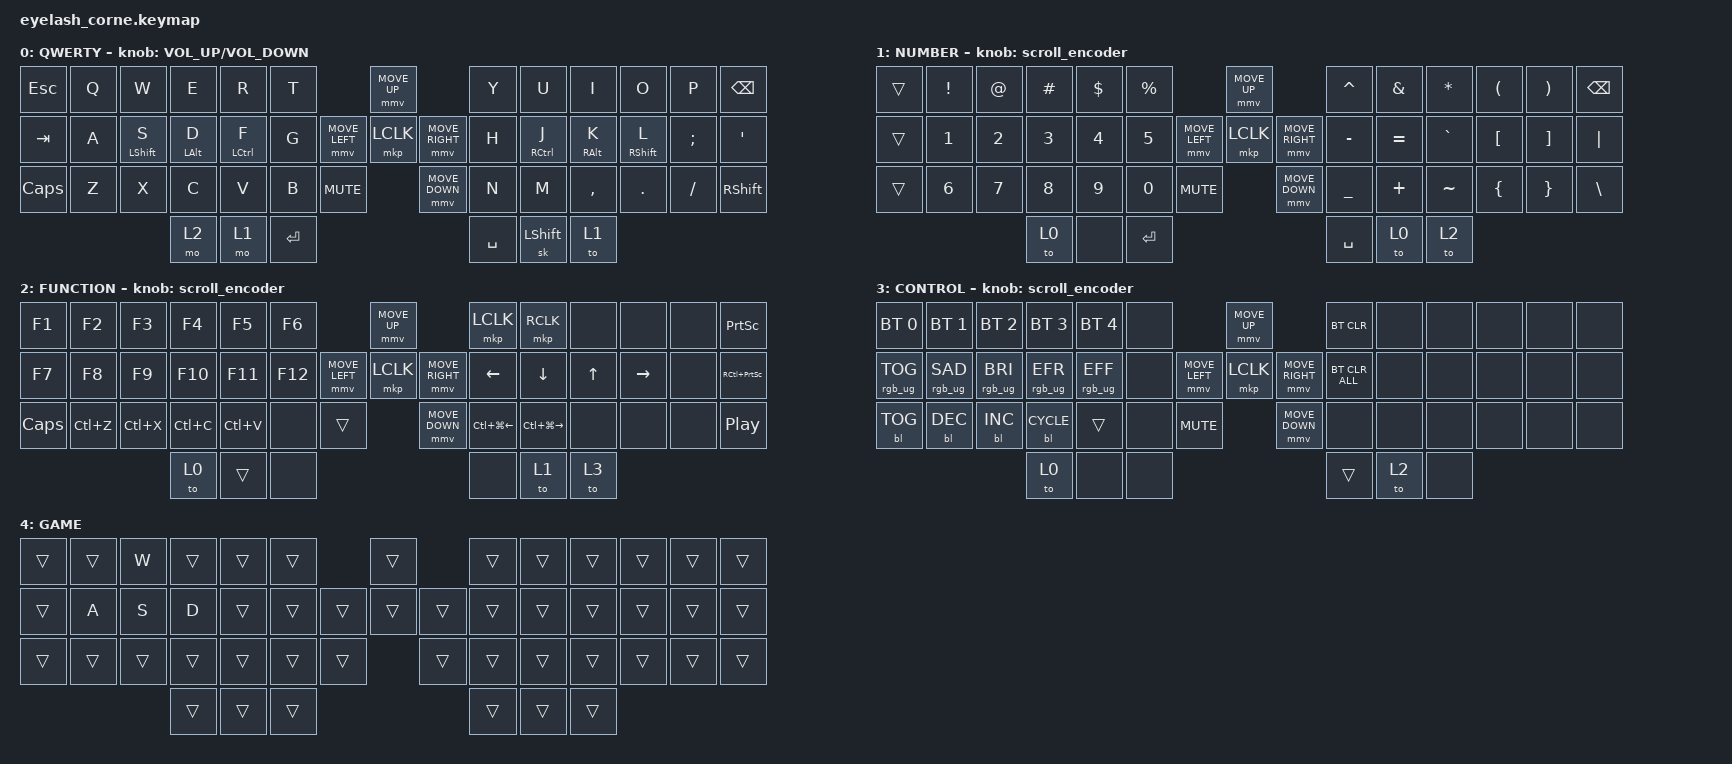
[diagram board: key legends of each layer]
#include <dt-bindings/zmk/mouse.h>
#include <input/processors.dtsi>
#include <behaviors.dtsi>
#include <dt-bindings/zmk/backlight.h>
#include <dt-bindings/zmk/bt.h>
#include <dt-bindings/zmk/keys.h>
#include <dt-bindings/zmk/pointing.h>
#include <dt-bindings/zmk/rgb.h>

/*

   &mmv_input_listener {
       input-processors = <&zip_xy_scaler 2 1>;
   };

   &msc_input_listener {
       input-processors = <&zip_xy_scaler 2 1>;
   };

 */

#define ZMK_MOUSE_DEFAULT_MOVE_VAL 1200  // 600
#define ZMK_MOUSE_DEFAULT_SCRL_VAL 20    // 10

/ {
    behaviors {
        shift_caps: shift_caps {
            compatible = "zmk,behavior-tap-dance";
            display-name = "Shift/Caps Lock Tap Dance";
            #binding-cells = <0>;
            bindings = <&kp LEFT_SHIFT>, <&kp CAPS>;
        };

        HRL: HRL {
            compatible = "zmk,behavior-hold-tap";
            label = "HRL";
            bindings = <&kp>, <&kp>;

            #binding-cells = <2>;
            tapping-term-ms = <280>;
            quick-tap-ms = <175>;
            require-prior-idle-ms = <150>;
            flavor = "balanced";
            hold-trigger-on-release;
            hold-trigger-key-positions = <0 1 2 3 4 5 13 14 15 16 17 18 28 29 30 31 32 33 42 43 44>;
        };

        HRR: HRR {
            compatible = "zmk,behavior-hold-tap";
            label = "HRR";
            bindings = <&kp>, <&kp>;

            #binding-cells = <2>;
            tapping-term-ms = <280>;
            quick-tap-ms = <175>;
            require-prior-idle-ms = <150>;
            flavor = "balanced";
            hold-trigger-on-release;
            hold-trigger-key-positions = <7 8 9 10 11 12 22 23 24 25 26 27 36 37 38 39 40 41 45 46 47>;
        };

        HRSHIFT: HRSHIFT {
            compatible = "zmk,behavior-hold-tap";
            label = "HRSHIFT";
            bindings = <&kp>, <&kp>;

            #binding-cells = <2>;
            tapping-term-ms = <175>;
            quick-tap-ms = <100>;
            flavor = "hold-preferred";
            retro-tap;
            hold-while-undecided;
            hold-trigger-on-release;
        };
    };

    rgb_encoder: rgb_encoder {
        compatible = "zmk,behavior-sensor-rotate";
        #sensor-binding-cells = <0>;
        bindings = <&rgb_ug RGB_BRI>, <&rgb_ug RGB_BRD>;
    };

    scroll_encoder: scroll_encoder {
        compatible = "zmk,behavior-sensor-rotate";
        #sensor-binding-cells = <0>;
        bindings = <&msc SCRL_DOWN>, <&msc SCRL_UP>;

        tap-ms = <30>;
    };

    combos { compatible = "zmk,combos"; };

    keymap {
        compatible = "zmk,keymap";

        default_layer {
            display-name = "QWERTY";
            bindings = <
&kp ESC   &kp Q  &kp W              &kp E            &kp R                &kp T                                    &mmv MOVE_UP                     &kp Y      &kp U                 &kp I             &kp O               &kp P     &kp BSPC
&kp TAB   &kp A  &HRL LEFT_SHIFT S  &HRL LEFT_ALT D  &HRL LEFT_CONTROL F  &kp G                    &mmv MOVE_LEFT  &mkp LCLK       &mmv MOVE_RIGHT  &kp H      &HRR RIGHT_CONTROL J  &HRR RIGHT_ALT K  &HRR RIGHT_SHIFT L  &kp SEMI  &kp SQT
&kp CAPS  &kp Z  &kp X              &kp C            &kp V                &kp B      &kp C_MUTE                    &mmv MOVE_DOWN                   &kp N      &kp M                 &kp COMMA         &kp DOT             &kp FSLH  &kp RIGHT_SHIFT
                                    &mo 2            &mo 1                &kp ENTER                                                                 &kp SPACE  &sk LEFT_SHIFT        &to 1
            >;

            sensor-bindings = <&inc_dec_kp C_VOLUME_UP C_VOLUME_DOWN>;
        };

        lower_layer {
            display-name = "NUMBER";
            bindings = <
&trans  &kp EXCL      &kp AT        &kp HASH      &kp DOLLAR    &kp PERCENT                                 &mmv MOVE_UP                     &kp CARET       &kp AMPS   &kp ASTRK  &kp LEFT_PARENTHESIS  &kp RIGHT_PARENTHESIS  &kp BSPC
&trans  &kp NUMBER_1  &kp NUMBER_2  &kp NUMBER_3  &kp NUMBER_4  &kp NUMBER_5                &mmv MOVE_LEFT  &mkp LCLK       &mmv MOVE_RIGHT  &kp MINUS       &kp EQUAL  &kp GRAVE  &kp LEFT_BRACKET      &kp RIGHT_BRACKET      &kp PIPE
&trans  &kp NUMBER_6  &kp NUMBER_7  &kp NUMBER_8  &kp NUMBER_9  &kp NUMBER_0  &kp C_MUTE                    &mmv MOVE_DOWN                   &kp UNDERSCORE  &kp PLUS   &kp TILDE  &kp LEFT_BRACE        &kp RIGHT_BRACE        &kp BACKSLASH
                                    &to 0         &none         &kp ENTER                                                                    &kp SPACE       &to 0      &to 2
            >;

            sensor-bindings = <&scroll_encoder>;
        };

        raise_layer {
            display-name = "FUNCTION";
            bindings = <
&kp F1    &kp F2     &kp F3     &kp F4     &kp F5     &kp F6                             &mmv MOVE_UP                     &mkp LCLK         &mkp RCLK          &none         &none      &none  &kp PSCRN
&kp F7    &kp F8     &kp F9     &kp F10    &kp F11    &kp F12            &mmv MOVE_LEFT  &mkp LCLK       &mmv MOVE_RIGHT  &kp LEFT          &kp DOWN           &kp UP_ARROW  &kp RIGHT  &none  &kp RC(PSCRN)
&kp CAPS  &kp LC(Z)  &kp LC(X)  &kp LC(C)  &kp LC(V)  &none    &trans                    &mmv MOVE_DOWN                   &kp LC(LG(LEFT))  &kp LC(LG(RIGHT))  &none         &none      &none  &kp C_PP
                                &to 0      &trans     &none                                                               &none             &to 1              &to 3
            >;

            sensor-bindings = <&scroll_encoder>;
        };

        layer_3 {
            display-name = "CONTROL";
            bindings = <
&bt BT_SEL 0     &bt BT_SEL 1     &bt BT_SEL 2     &bt BT_SEL 3     &bt BT_SEL 4     &none                                &mmv MOVE_UP                     &bt BT_CLR      &none  &none  &none  &none  &none
&rgb_ug RGB_TOG  &rgb_ug RGB_SAD  &rgb_ug RGB_BRI  &rgb_ug RGB_EFR  &rgb_ug RGB_EFF  &none                &mmv MOVE_LEFT  &mkp LCLK       &mmv MOVE_RIGHT  &bt BT_CLR_ALL  &none  &none  &none  &none  &none
&bl BL_TOG       &bl BL_DEC       &bl BL_INC       &bl BL_CYCLE     &trans           &none  &kp C_MUTE                    &mmv MOVE_DOWN                   &none           &none  &none  &none  &none  &none
                                                   &to 0            &none            &none                                                                 &trans          &to 2  &none
            >;

            sensor-bindings = <&scroll_encoder>;
        };

        GAME {
            bindings = <
&trans  &trans  &kp W   &trans  &trans  &trans                    &trans          &trans  &trans  &trans  &trans  &trans  &trans
&trans  &kp A   &kp S   &kp D   &trans  &trans            &trans  &trans  &trans  &trans  &trans  &trans  &trans  &trans  &trans
&trans  &trans  &trans  &trans  &trans  &trans  &trans            &trans          &trans  &trans  &trans  &trans  &trans  &trans
                        &trans  &trans  &trans                                    &trans  &trans  &trans
            >;
        };
    };
};
